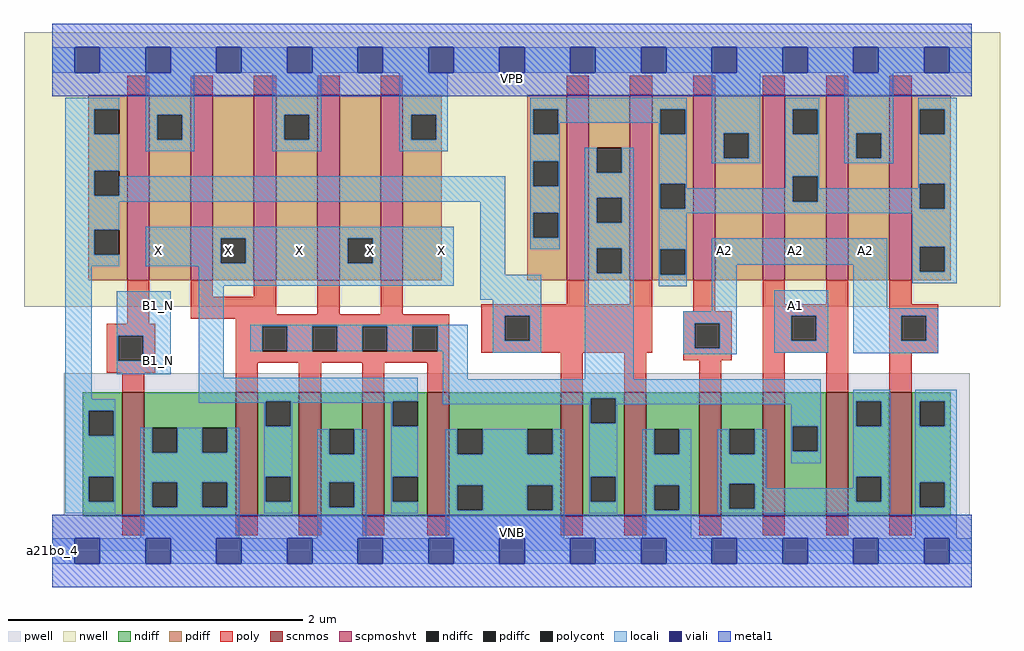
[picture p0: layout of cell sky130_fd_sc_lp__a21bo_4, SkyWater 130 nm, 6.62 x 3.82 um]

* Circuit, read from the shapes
.subckt sky130_fd_sc_lp__a21bo_4 A1 A2 B1_N VGND VNB VPB VPWR X
XM1 VGND B1_N n1 VNB sky130_fd_pr__nfet_01v8 w=0.84 l=0.15
XM2 X n2 VGND VNB sky130_fd_pr__nfet_01v8 w=0.84 l=0.15 m=4
XM3 n2 n1 VGND VNB sky130_fd_pr__nfet_01v8 w=0.84 l=0.15 m=2
XM4 n3 A2 VGND VNB sky130_fd_pr__nfet_01v8 w=0.84 l=0.15 m=2
XM5 n2 A1 n3 VNB sky130_fd_pr__nfet_01v8 w=0.84 l=0.15 m=2
XM6 VPWR B1_N n1 VPB sky130_fd_pr__pfet_01v8_hvt w=1.26 l=0.15
XM7 X n2 VPWR VPB sky130_fd_pr__pfet_01v8_hvt w=1.26 l=0.15 m=4
XM8 n2 n1 n4 VPB sky130_fd_pr__pfet_01v8_hvt w=1.26 l=0.15 m=2
XM9 VPWR A2 n4 VPB sky130_fd_pr__pfet_01v8_hvt w=1.26 l=0.15 m=2
XM10 n4 A1 VPWR VPB sky130_fd_pr__pfet_01v8_hvt w=1.26 l=0.15 m=2
.ends

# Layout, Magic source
magic
tech sky130A
magscale 1 2
<< nwell >>
rect -38 331 1286 704
<< pwell >>
rect 16 49 1245 241
rect 0 0 1248 49
<< scnmos >>
rect 95 47 125 215
rect 249 47 279 215
rect 335 47 365 215
rect 421 47 451 215
rect 509 47 539 215
rect 690 47 720 215
rect 776 47 806 215
rect 878 47 908 215
rect 964 47 994 215
rect 1050 47 1080 215
rect 1136 47 1166 215
<< scpmoshvt >>
rect 102 367 132 619
rect 188 367 218 619
rect 274 367 304 619
rect 360 367 390 619
rect 446 367 476 619
rect 698 367 728 619
rect 784 367 814 619
rect 870 367 900 619
rect 964 367 994 619
rect 1050 367 1080 619
rect 1136 367 1166 619
<< ndiff >>
rect 42 190 95 215
rect 42 156 50 190
rect 84 156 95 190
rect 42 101 95 156
rect 42 67 50 101
rect 84 67 95 101
rect 42 47 95 67
rect 125 167 249 215
rect 125 133 136 167
rect 170 133 204 167
rect 238 133 249 167
rect 125 93 249 133
rect 125 59 136 93
rect 170 59 204 93
rect 238 59 249 93
rect 125 47 249 59
rect 279 203 335 215
rect 279 169 290 203
rect 324 169 335 203
rect 279 101 335 169
rect 279 67 290 101
rect 324 67 335 101
rect 279 47 335 67
rect 365 165 421 215
rect 365 131 376 165
rect 410 131 421 165
rect 365 93 421 131
rect 365 59 376 93
rect 410 59 421 93
rect 365 47 421 59
rect 451 203 509 215
rect 451 169 462 203
rect 496 169 509 203
rect 451 101 509 169
rect 451 67 462 101
rect 496 67 509 101
rect 451 47 509 67
rect 539 165 690 215
rect 539 131 550 165
rect 584 131 645 165
rect 679 131 690 165
rect 539 89 690 131
rect 539 55 550 89
rect 584 55 645 89
rect 679 55 690 89
rect 539 47 690 55
rect 720 207 776 215
rect 720 173 731 207
rect 765 173 776 207
rect 720 101 776 173
rect 720 67 731 101
rect 765 67 776 101
rect 720 47 776 67
rect 806 165 878 215
rect 806 131 817 165
rect 851 131 878 165
rect 806 89 878 131
rect 806 55 817 89
rect 851 55 878 89
rect 806 47 878 55
rect 908 165 964 215
rect 908 131 919 165
rect 953 131 964 165
rect 908 91 964 131
rect 908 57 919 91
rect 953 57 964 91
rect 908 47 964 57
rect 994 169 1050 215
rect 994 135 1005 169
rect 1039 135 1050 169
rect 994 47 1050 135
rect 1080 203 1136 215
rect 1080 169 1091 203
rect 1125 169 1136 203
rect 1080 101 1136 169
rect 1080 67 1091 101
rect 1125 67 1136 101
rect 1080 47 1136 67
rect 1166 203 1219 215
rect 1166 169 1177 203
rect 1211 169 1219 203
rect 1166 93 1219 169
rect 1166 59 1177 93
rect 1211 59 1219 93
rect 1166 47 1219 59
<< pdiff >>
rect 49 599 102 619
rect 49 565 57 599
rect 91 565 102 599
rect 49 516 102 565
rect 49 482 57 516
rect 91 482 102 516
rect 49 436 102 482
rect 49 402 57 436
rect 91 402 102 436
rect 49 367 102 402
rect 132 592 188 619
rect 132 558 143 592
rect 177 558 188 592
rect 132 367 188 558
rect 218 424 274 619
rect 218 390 229 424
rect 263 390 274 424
rect 218 367 274 390
rect 304 592 360 619
rect 304 558 315 592
rect 349 558 360 592
rect 304 367 360 558
rect 390 424 446 619
rect 390 390 401 424
rect 435 390 446 424
rect 390 367 446 390
rect 476 592 529 619
rect 476 558 487 592
rect 521 558 529 592
rect 476 367 529 558
rect 645 599 698 619
rect 645 565 653 599
rect 687 565 698 599
rect 645 529 698 565
rect 645 495 653 529
rect 687 495 698 529
rect 645 459 698 495
rect 645 425 653 459
rect 687 425 698 459
rect 645 367 698 425
rect 728 547 784 619
rect 728 513 739 547
rect 773 513 784 547
rect 728 479 784 513
rect 728 445 739 479
rect 773 445 784 479
rect 728 411 784 445
rect 728 377 739 411
rect 773 377 784 411
rect 728 367 784 377
rect 814 599 870 619
rect 814 565 825 599
rect 859 565 870 599
rect 814 498 870 565
rect 814 464 825 498
rect 859 464 870 498
rect 814 409 870 464
rect 814 375 825 409
rect 859 375 870 409
rect 814 367 870 375
rect 900 567 964 619
rect 900 533 911 567
rect 945 533 964 567
rect 900 367 964 533
rect 994 599 1050 619
rect 994 565 1005 599
rect 1039 565 1050 599
rect 994 508 1050 565
rect 994 474 1005 508
rect 1039 474 1050 508
rect 994 367 1050 474
rect 1080 567 1136 619
rect 1080 533 1091 567
rect 1125 533 1136 567
rect 1080 367 1136 533
rect 1166 599 1219 619
rect 1166 565 1177 599
rect 1211 565 1219 599
rect 1166 498 1219 565
rect 1166 464 1177 498
rect 1211 464 1219 498
rect 1166 413 1219 464
rect 1166 379 1177 413
rect 1211 379 1219 413
rect 1166 367 1219 379
<< ndiffc >>
rect 50 156 84 190
rect 50 67 84 101
rect 136 133 170 167
rect 204 133 238 167
rect 136 59 170 93
rect 204 59 238 93
rect 290 169 324 203
rect 290 67 324 101
rect 376 131 410 165
rect 376 59 410 93
rect 462 169 496 203
rect 462 67 496 101
rect 550 131 584 165
rect 645 131 679 165
rect 550 55 584 89
rect 645 55 679 89
rect 731 173 765 207
rect 731 67 765 101
rect 817 131 851 165
rect 817 55 851 89
rect 919 131 953 165
rect 919 57 953 91
rect 1005 135 1039 169
rect 1091 169 1125 203
rect 1091 67 1125 101
rect 1177 169 1211 203
rect 1177 59 1211 93
<< pdiffc >>
rect 57 565 91 599
rect 57 482 91 516
rect 57 402 91 436
rect 143 558 177 592
rect 229 390 263 424
rect 315 558 349 592
rect 401 390 435 424
rect 487 558 521 592
rect 653 565 687 599
rect 653 495 687 529
rect 653 425 687 459
rect 739 513 773 547
rect 739 445 773 479
rect 739 377 773 411
rect 825 565 859 599
rect 825 464 859 498
rect 825 375 859 409
rect 911 533 945 567
rect 1005 565 1039 599
rect 1005 474 1039 508
rect 1091 533 1125 567
rect 1177 565 1211 599
rect 1177 464 1211 498
rect 1177 379 1211 413
<< poly >>
rect 102 619 132 645
rect 188 619 218 645
rect 274 619 304 645
rect 360 619 390 645
rect 446 619 476 645
rect 698 619 728 645
rect 784 619 814 645
rect 870 619 900 645
rect 964 619 994 645
rect 1050 619 1080 645
rect 1136 619 1166 645
rect 102 308 132 367
rect 188 345 218 367
rect 274 345 304 367
rect 188 321 304 345
rect 360 321 390 367
rect 446 321 476 367
rect 698 335 728 367
rect 784 335 814 367
rect 188 315 539 321
rect 74 292 140 308
rect 74 258 90 292
rect 124 258 140 292
rect 74 242 140 258
rect 249 305 539 315
rect 249 271 285 305
rect 319 271 353 305
rect 387 271 421 305
rect 455 271 489 305
rect 523 271 539 305
rect 249 255 539 271
rect 582 319 814 335
rect 870 325 900 367
rect 964 335 994 367
rect 1050 335 1080 367
rect 582 285 614 319
rect 648 285 814 319
rect 582 269 814 285
rect 856 309 922 325
rect 856 275 872 309
rect 906 275 922 309
rect 95 215 125 242
rect 249 215 279 255
rect 335 215 365 255
rect 421 215 451 255
rect 509 215 539 255
rect 690 215 720 269
rect 776 215 806 269
rect 856 259 922 275
rect 964 319 1080 335
rect 964 285 1003 319
rect 1037 285 1080 319
rect 964 269 1080 285
rect 878 215 908 259
rect 964 215 994 269
rect 1050 215 1080 269
rect 1136 335 1166 367
rect 1136 319 1202 335
rect 1136 285 1152 319
rect 1186 285 1202 319
rect 1136 269 1202 285
rect 1136 215 1166 269
rect 95 21 125 47
rect 249 21 279 47
rect 335 21 365 47
rect 421 21 451 47
rect 509 21 539 47
rect 690 21 720 47
rect 776 21 806 47
rect 878 21 908 47
rect 964 21 994 47
rect 1050 21 1080 47
rect 1136 21 1166 47
<< polycont >>
rect 90 258 124 292
rect 285 271 319 305
rect 353 271 387 305
rect 421 271 455 305
rect 489 271 523 305
rect 614 285 648 319
rect 872 275 906 309
rect 1003 285 1037 319
rect 1152 285 1186 319
<< locali >>
rect 0 649 31 683
rect 65 649 127 683
rect 161 649 223 683
rect 257 649 319 683
rect 353 649 415 683
rect 449 649 511 683
rect 545 649 607 683
rect 641 649 703 683
rect 737 649 799 683
rect 833 649 895 683
rect 929 649 991 683
rect 1025 649 1087 683
rect 1121 649 1183 683
rect 1217 649 1248 683
rect 18 599 91 615
rect 18 565 57 599
rect 18 516 91 565
rect 127 592 193 649
rect 127 558 143 592
rect 177 558 193 592
rect 127 542 193 558
rect 299 592 365 649
rect 299 558 315 592
rect 349 558 365 592
rect 299 542 365 558
rect 471 592 537 649
rect 471 558 487 592
rect 521 558 537 592
rect 471 542 537 558
rect 649 599 861 615
rect 649 565 653 599
rect 687 581 825 599
rect 687 565 689 581
rect 18 482 57 516
rect 649 529 689 565
rect 823 565 825 581
rect 859 565 861 599
rect 91 482 615 508
rect 18 474 615 482
rect 18 436 91 474
rect 18 402 57 436
rect 18 386 91 402
rect 127 424 545 440
rect 127 390 229 424
rect 263 390 401 424
rect 435 390 545 424
rect 127 386 545 390
rect 18 206 54 386
rect 199 360 545 386
rect 581 375 615 474
rect 649 495 653 529
rect 687 495 689 529
rect 649 459 689 495
rect 649 425 653 459
rect 687 425 689 459
rect 649 409 689 425
rect 723 513 739 547
rect 773 513 789 547
rect 723 479 789 513
rect 723 445 739 479
rect 773 445 789 479
rect 723 411 789 445
rect 723 377 739 411
rect 773 377 789 411
rect 88 292 161 352
rect 88 258 90 292
rect 124 258 161 292
rect 88 240 161 258
rect 199 235 233 360
rect 581 341 664 375
rect 598 319 664 341
rect 269 305 564 307
rect 269 271 285 305
rect 319 271 353 305
rect 387 271 421 305
rect 455 271 489 305
rect 523 271 564 305
rect 18 190 86 206
rect 199 203 496 235
rect 199 201 290 203
rect 18 156 50 190
rect 84 156 86 190
rect 288 169 290 201
rect 324 201 462 203
rect 324 169 326 201
rect 18 101 86 156
rect 18 67 50 101
rect 84 67 86 101
rect 18 51 86 67
rect 120 133 136 167
rect 170 133 204 167
rect 238 133 254 167
rect 120 93 254 133
rect 120 59 136 93
rect 170 59 204 93
rect 238 59 254 93
rect 120 17 254 59
rect 288 101 326 169
rect 460 169 462 201
rect 530 233 564 271
rect 598 285 614 319
rect 648 285 664 319
rect 598 269 664 285
rect 723 233 789 377
rect 823 498 861 565
rect 895 567 961 649
rect 895 533 911 567
rect 945 533 961 567
rect 895 526 961 533
rect 995 599 1041 615
rect 995 565 1005 599
rect 1039 565 1041 599
rect 823 464 825 498
rect 859 492 861 498
rect 995 508 1041 565
rect 1075 567 1141 649
rect 1075 533 1091 567
rect 1125 533 1141 567
rect 1075 526 1141 533
rect 1175 599 1227 615
rect 1175 565 1177 599
rect 1211 565 1227 599
rect 995 492 1005 508
rect 859 474 1005 492
rect 1039 492 1041 508
rect 1175 498 1227 565
rect 1175 492 1177 498
rect 1039 474 1177 492
rect 859 464 1177 474
rect 1211 464 1227 498
rect 823 458 1227 464
rect 823 409 861 458
rect 823 375 825 409
rect 859 375 861 409
rect 823 359 861 375
rect 895 388 1133 424
rect 895 325 929 388
rect 856 309 929 325
rect 856 275 872 309
rect 906 275 929 309
rect 856 267 929 275
rect 980 319 1053 354
rect 980 285 1003 319
rect 1037 285 1053 319
rect 980 269 1053 285
rect 1087 329 1133 388
rect 1167 413 1227 458
rect 1167 379 1177 413
rect 1211 379 1227 413
rect 1167 363 1227 379
rect 1087 319 1202 329
rect 1087 285 1152 319
rect 1186 285 1202 319
rect 1087 268 1202 285
rect 530 207 1043 233
rect 530 199 731 207
rect 288 67 290 101
rect 324 67 326 101
rect 288 51 326 67
rect 360 131 376 165
rect 410 131 426 165
rect 360 93 426 131
rect 360 59 376 93
rect 410 59 426 93
rect 360 17 426 59
rect 460 101 496 169
rect 729 173 731 199
rect 765 199 1043 207
rect 765 173 767 199
rect 460 67 462 101
rect 460 51 496 67
rect 534 131 550 165
rect 584 131 645 165
rect 679 131 695 165
rect 534 89 695 131
rect 534 55 550 89
rect 584 55 645 89
rect 679 55 695 89
rect 534 17 695 55
rect 729 101 767 173
rect 1003 169 1043 199
rect 729 67 731 101
rect 765 67 767 101
rect 729 51 767 67
rect 801 131 817 165
rect 851 131 867 165
rect 801 89 867 131
rect 801 55 817 89
rect 851 55 867 89
rect 801 17 867 55
rect 903 131 919 165
rect 953 131 969 165
rect 903 91 969 131
rect 1003 135 1005 169
rect 1039 135 1043 169
rect 1003 119 1043 135
rect 1087 203 1137 219
rect 1087 169 1091 203
rect 1125 169 1137 203
rect 903 57 919 91
rect 953 85 969 91
rect 1087 101 1137 169
rect 1087 85 1091 101
rect 953 67 1091 85
rect 1125 67 1137 101
rect 953 57 1137 67
rect 903 51 1137 57
rect 1171 203 1227 219
rect 1171 169 1177 203
rect 1211 169 1227 203
rect 1171 93 1227 169
rect 1171 59 1177 93
rect 1211 59 1227 93
rect 1171 17 1227 59
rect 0 -17 31 17
rect 65 -17 127 17
rect 161 -17 223 17
rect 257 -17 319 17
rect 353 -17 415 17
rect 449 -17 511 17
rect 545 -17 607 17
rect 641 -17 703 17
rect 737 -17 799 17
rect 833 -17 895 17
rect 929 -17 991 17
rect 1025 -17 1087 17
rect 1121 -17 1183 17
rect 1217 -17 1248 17
<< viali >>
rect 31 649 65 683
rect 127 649 161 683
rect 223 649 257 683
rect 319 649 353 683
rect 415 649 449 683
rect 511 649 545 683
rect 607 649 641 683
rect 703 649 737 683
rect 799 649 833 683
rect 895 649 929 683
rect 991 649 1025 683
rect 1087 649 1121 683
rect 1183 649 1217 683
rect 31 -17 65 17
rect 127 -17 161 17
rect 223 -17 257 17
rect 319 -17 353 17
rect 415 -17 449 17
rect 511 -17 545 17
rect 607 -17 641 17
rect 703 -17 737 17
rect 799 -17 833 17
rect 895 -17 929 17
rect 991 -17 1025 17
rect 1087 -17 1121 17
rect 1183 -17 1217 17
<< metal1 >>
rect 0 683 1248 715
rect 0 649 31 683
rect 65 649 127 683
rect 161 649 223 683
rect 257 649 319 683
rect 353 649 415 683
rect 449 649 511 683
rect 545 649 607 683
rect 641 649 703 683
rect 737 649 799 683
rect 833 649 895 683
rect 929 649 991 683
rect 1025 649 1087 683
rect 1121 649 1183 683
rect 1217 649 1248 683
rect 0 617 1248 649
rect 0 17 1248 49
rect 0 -17 31 17
rect 65 -17 127 17
rect 161 -17 223 17
rect 257 -17 319 17
rect 353 -17 415 17
rect 449 -17 511 17
rect 545 -17 607 17
rect 641 -17 703 17
rect 737 -17 799 17
rect 833 -17 895 17
rect 929 -17 991 17
rect 1025 -17 1087 17
rect 1121 -17 1183 17
rect 1217 -17 1248 17
rect 0 -49 1248 -17
<< labels >>
flabel pwell s 0 0 1248 49 0 FreeSans 200 0 0 0 VNB
port 5 nsew ground bidirectional
flabel nwell s 0 617 1248 666 0 FreeSans 200 0 0 0 VPB
port 6 nsew power bidirectional
rlabel comment s 0 0 0 0 4 a21bo_4
flabel metal1 s 0 617 1248 666 0 FreeSans 340 0 0 0 VPWR
port 7 nsew power bidirectional
flabel metal1 s 0 0 1248 49 0 FreeSans 340 0 0 0 VGND
port 4 nsew ground bidirectional
flabel locali s 127 390 161 424 0 FreeSans 340 0 0 0 X
port 8 nsew signal output
flabel locali s 223 390 257 424 0 FreeSans 340 0 0 0 X
port 8 nsew signal output
flabel locali s 319 390 353 424 0 FreeSans 340 0 0 0 X
port 8 nsew signal output
flabel locali s 415 390 449 424 0 FreeSans 340 0 0 0 X
port 8 nsew signal output
flabel locali s 511 390 545 424 0 FreeSans 340 0 0 0 X
port 8 nsew signal output
flabel locali s 991 316 1025 350 0 FreeSans 340 0 0 0 A1
port 1 nsew signal input
flabel locali s 895 390 929 424 0 FreeSans 340 0 0 0 A2
port 2 nsew signal input
flabel locali s 991 390 1025 424 0 FreeSans 340 0 0 0 A2
port 2 nsew signal input
flabel locali s 1087 390 1121 424 0 FreeSans 340 0 0 0 A2
port 2 nsew signal input
flabel locali s 127 242 161 276 0 FreeSans 340 0 0 0 B1_N
port 3 nsew signal input
flabel locali s 127 316 161 350 0 FreeSans 340 0 0 0 B1_N
port 3 nsew signal input
<< properties >>
string LEFsite unit
string LEFclass CORE
string FIXED_BBOX 0 0 1248 666
string GDS_FILE $PDKPATH/libs.ref/sky130_fd_sc_lp/gds/sky130_fd_sc_lp.gds
string LEFsymmetry X Y R90
string GDS_END 3763162
string GDS_START 3752382
<< end >>
